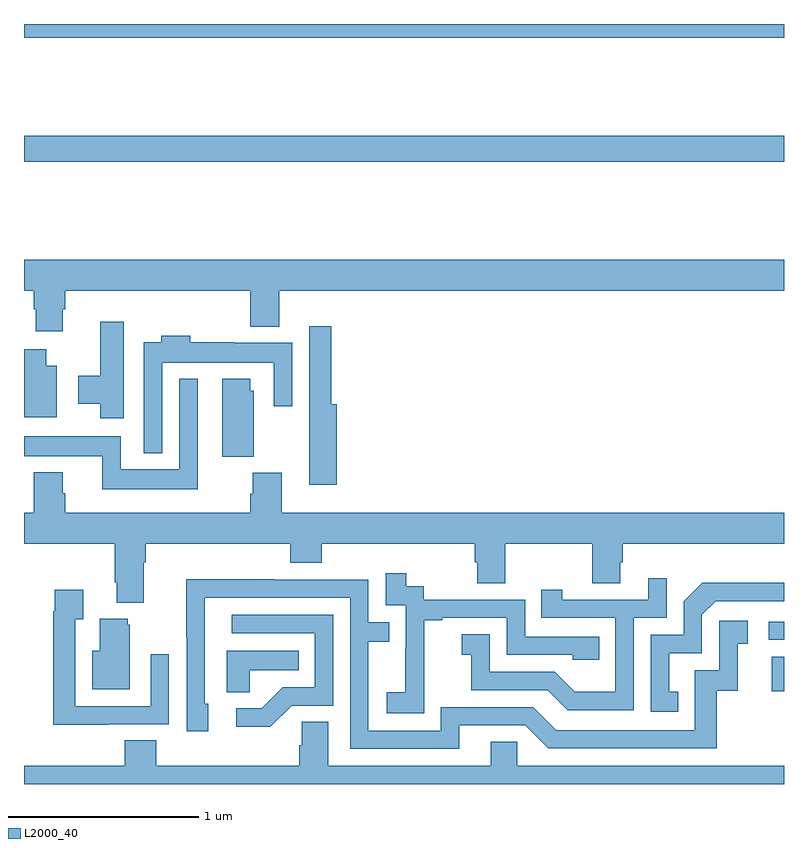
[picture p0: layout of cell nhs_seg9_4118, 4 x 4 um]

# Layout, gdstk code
import gdstk
lib = gdstk.Library(unit=1e-6, precision=1e-09)
def R(c, l, rs):  # rectangles x0, y0, x1, y1
    for r in rs: c.add(gdstk.rectangle(r[:2], r[2:], *l))
def P(c, l, *ps):  # polygons
    for p in ps: c.add(gdstk.Polygon(p, *l))
L2000_40 = (2000, 40)

nhs_seg9_4118 = lib.new_cell('nhs_seg9_4118')
R(nhs_seg9_4118, L2000_40, [(350.936,1184.988,351,1185.169), (350.919,1185.258,351,1185.354), (347,1187.776,351,1187.912), (347,1188.428,351,1188.5)])
P(nhs_seg9_4118, L2000_40, [(347.203,1186.998),(347.216,1186.998),(347.216,1187.096),(348.191,1187.096),(348.191,1186.907),(348.343,1186.907),(348.343,1187.096),(351,1187.096),(351,1187.26),(347,1187.26),(347,1187.096),(347.051,1187.096),(347.051,1186.998),(347.063,1186.998),(347.063,1186.884),(347.203,1186.884)],
  [(347.524,1186.933),(347.402,1186.933),(347.402,1186.65),(347.285,1186.65),(347.285,1186.502),(347.402,1186.502),(347.402,1186.425),(347.524,1186.425)],
  [(348.647,1186.498),(348.617,1186.498),(348.617,1186.909),(348.501,1186.909),(348.501,1186.394),(348.5,1186.394),(348.5,1186.074),(348.647,1186.074)],
  [(347.727,1186.718),(348.315,1186.718),(348.315,1186.488),(348.411,1186.488),(348.411,1186.822),(348.107,1186.822),(348.107,1186.825),(347.876,1186.825),(347.876,1186.858),(347.723,1186.858),(347.723,1186.825),(347.631,1186.825),(347.631,1186.241),(347.727,1186.241)],
  [(347.173,1186.702),(347.116,1186.702),(347.116,1186.789),(347,1186.789),(347,1186.43),(347.173,1186.43)],
  [(347.914,1186.633),(347.817,1186.633),(347.817,1186.156),(347.508,1186.156),(347.508,1186.33),(347,1186.33),(347,1186.226),(347.411,1186.226),(347.411,1186.052),(347.914,1186.052)],
  [(348.208,1186.569),(348.19,1186.569),(348.19,1186.633),(348.044,1186.633),(348.044,1186.222),(348.208,1186.222)],
  [(347.629,1185.668),(347.642,1185.668),(347.642,1185.764),(348.401,1185.764),(348.401,1185.665),(348.566,1185.665),(348.566,1185.764),(349.373,1185.764),(349.373,1185.666),(349.385,1185.666),(349.385,1185.556),(349.533,1185.556),(349.533,1185.764),(349.99,1185.764),(349.99,1185.556),(350.137,1185.556),(350.137,1185.666),(350.15,1185.666),(350.15,1185.764),(351,1185.764),(351,1185.928),(348.356,1185.928),(348.356,1186.137),(348.203,1186.137),(348.203,1186.028),(348.191,1186.028),(348.191,1185.928),(347.216,1185.928),(347.216,1186.029),(347.203,1186.029),(347.203,1186.141),(347.051,1186.141),(347.051,1185.928),(347,1185.928),(347,1185.764),(347.477,1185.764),(347.477,1185.562),(347.489,1185.562),(347.489,1185.455),(347.629,1185.455)],
  [(349.107,1185.079),(349.106,1185.079),(349.106,1185.363),(349.201,1185.363),(349.201,1185.375),(349.542,1185.375),(349.542,1185.18),(349.887,1185.18),(349.887,1185.153),(350.027,1185.153),(350.027,1185.276),(349.638,1185.276),(349.638,1185.471),(349.104,1185.471),(349.104,1185.54),(349.012,1185.54),(349.012,1185.61),(348.903,1185.61),(348.903,1185.441),(349.008,1185.441),(349.008,1185.212),(349.007,1185.212),(349.007,1184.983),(348.909,1184.983),(348.909,1184.873),(349.107,1184.873)],
  [(350.208,1185.375),(350.382,1185.375),(350.382,1185.583),(350.285,1185.583),(350.285,1185.471),(349.834,1185.471),(349.834,1185.523),(349.723,1185.523),(349.723,1185.375),(350.112,1185.375),(350.112,1184.986),(349.898,1184.986),(349.794,1185.09),(349.452,1185.09),(349.452,1185.289),(349.305,1185.289),(349.305,1185.179),(349.354,1185.179),(349.354,1184.994),(349.757,1184.994),(349.862,1184.889),(350.208,1184.889)],
  [(349.291,1184.808),(349.638,1184.808),(349.758,1184.688),(350.645,1184.688),(350.645,1184.991),(350.756,1184.991),(350.756,1185.237),(350.809,1185.237),(350.809,1185.358),(350.658,1185.358),(350.658,1185.099),(350.529,1185.099),(350.529,1184.784),(349.8,1184.784),(349.68,1184.904),(349.194,1184.904),(349.194,1184.781),(348.813,1184.781),(348.813,1185.25),(348.923,1185.25),(348.923,1185.351),(348.813,1185.351),(348.813,1185.576),(348.317,1185.576),(348.317,1185.578),(347.854,1185.578),(347.854,1185.271),(347.856,1185.271),(347.856,1184.778),(347.971,1184.778),(347.971,1184.922),(347.952,1184.922),(347.952,1185.48),(348.717,1185.48),(348.717,1184.685),(349.291,1184.685)],
  [(350.444,1184.985),(350.395,1184.985),(350.395,1185.189),(350.568,1185.189),(350.568,1185.39),(350.64,1185.462),(351,1185.462),(351,1185.558),(350.978,1185.558),(350.978,1185.56),(350.57,1185.56),(350.472,1185.462),(350.472,1185.285),(350.298,1185.285),(350.298,1184.88),(350.444,1184.88)],
  [(347.447,1184.814),(347.763,1184.814),(347.763,1185.184),(347.667,1185.184),(347.667,1184.91),(347.271,1184.91),(347.271,1185.367),(347.311,1185.367),(347.311,1185.523),(347.163,1185.523),(347.163,1185.41),(347.155,1185.41),(347.155,1184.813),(347.447,1184.813)],
  [(348.408,1184.913),(348.627,1184.913),(348.627,1185.39),(348.093,1185.39),(348.093,1185.294),(348.531,1185.294),(348.531,1185.009),(348.362,1185.009),(348.251,1184.898),(348.117,1184.898),(348.117,1184.801),(348.295,1184.801)],
  [(347.557,1185.339),(347.546,1185.339),(347.546,1185.37),(347.399,1185.37),(347.399,1185.202),(347.36,1185.202),(347.36,1184.999),(347.557,1184.999)],
  [(348.189,1185.098),(348.446,1185.098),(348.446,1185.202),(348.068,1185.202),(348.068,1184.983),(348.189,1184.983)],
  [(351,1184.596),(349.596,1184.596),(349.596,1184.723),(349.457,1184.723),(349.457,1184.596),(348.601,1184.596),(348.601,1184.828),(348.462,1184.828),(348.462,1184.705),(348.449,1184.705),(348.449,1184.596),(347.696,1184.596),(347.696,1184.729),(347.531,1184.729),(347.531,1184.596),(347,1184.596),(347,1184.5),(351,1184.5)])

lib.write_gds('nhs_seg9_4118.gds')
